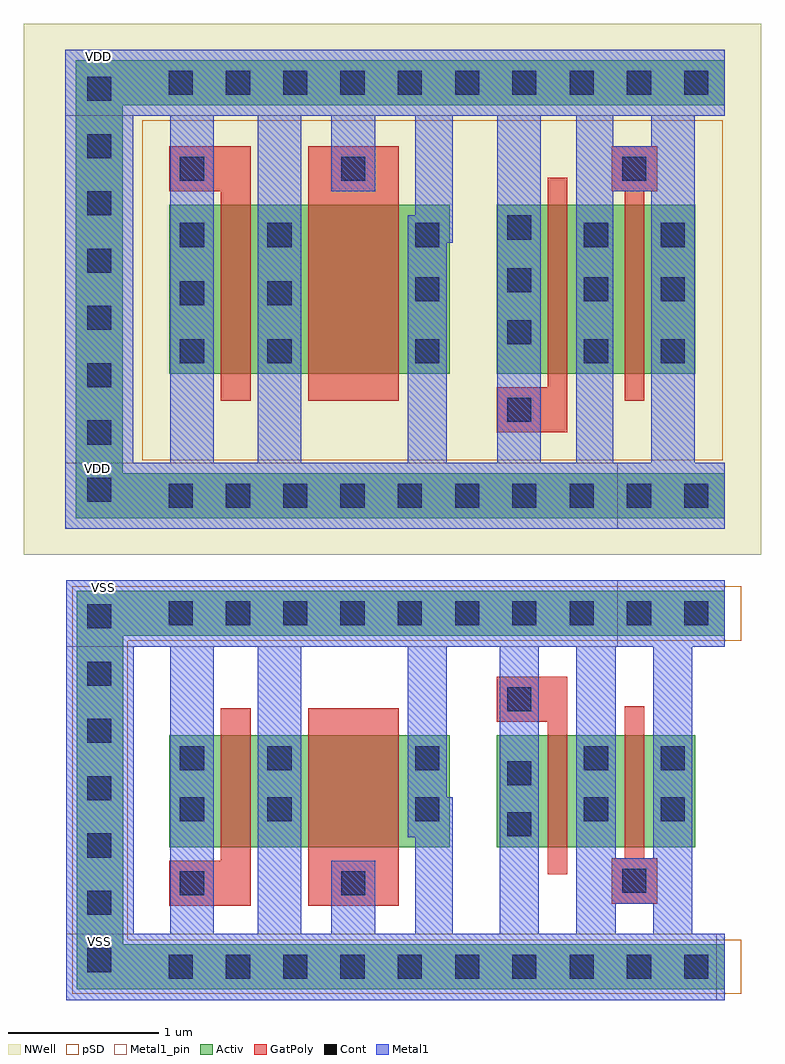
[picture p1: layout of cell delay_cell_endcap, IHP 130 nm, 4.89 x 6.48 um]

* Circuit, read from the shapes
.subckt delay_cell_endcap VDD VSS
XM1 VSS VSS VSS VSS sg13_lv_nmos w=0.74u l=0.2u
XM2 VSS VSS VSS VSS sg13_lv_nmos w=0.74u l=0.6u
XM3 VSS VSS VSS VSS sg13_lv_nmos w=0.74u l=0.13u m=2
XM4 VDD VDD VDD VDD sg13_lv_pmos w=1.12u l=0.2u
XM5 VDD VDD VDD VDD sg13_lv_pmos w=1.12u l=0.6u
XM6 VDD VDD VDD VDD sg13_lv_pmos w=1.12u l=0.13u m=2
.ends

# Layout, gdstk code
import gdstk
lib = gdstk.Library(unit=1e-6, precision=1e-09)
def R(c, l, rs):  # rectangles x0, y0, x1, y1
    for r in rs: c.add(gdstk.rectangle(r[:2], r[2:], *l))
def A(c, l, x, y, w, h, nx, ny, dx, dy):  # array of equal rectangles
    R(c, l, [(x+i*dx, y+j*dy, x+i*dx+w, y+j*dy+h) for i in range(nx) for j in range(ny)])
def P(c, l, *ps):  # polygons
    for p in ps: c.add(gdstk.Polygon(p, *l))
Activ = (1, 0)
GatPoly = (5, 0)
Cont = (6, 0)
Metal1 = (8, 0)
Metal1_pin = (8, 2)
pSD = (14, 0)
NWell = (31, 0)

delay_cell_endcap = lib.new_cell('delay_cell_endcap')
R(delay_cell_endcap, Activ, [(0.615,0.795,2.475,1.535), (2.785,0.795,4.105,1.535), (0.615,3.935,2.475,5.055), (2.785,3.935,4.105,5.055)])
P(delay_cell_endcap, Activ, [(-0.005,2.975),(-0.005,6.015),(4.3,6.015),(4.3,5.715),(0.305,5.715),(0.305,3.275),(4.3,3.275),(4.3,2.975)],
  [(0,-0.15),(0,2.495),(4.3,2.495),(4.3,2.195),(0.31,2.195),(0.31,0.15),(4.3,0.15),(4.3,-0.15)])
R(delay_cell_endcap, GatPoly, [(1.535,0.405,2.135,1.715), (1.535,3.755,2.135,5.445)])
P(delay_cell_endcap, GatPoly, [(3.55,0.42),(3.55,0.72),(3.635,0.72),(3.635,1.73),(3.765,1.73),(3.765,0.72),(3.85,0.72),(3.85,0.42)],
  [(3.125,0.615),(3.125,1.625),(2.785,1.625),(2.785,1.925),(3.255,1.925),(3.255,0.615)],
  [(3.635,3.755),(3.635,5.145),(3.55,5.145),(3.55,5.445),(3.85,5.445),(3.85,5.145),(3.765,5.145),(3.765,3.755)],
  [(2.785,3.545),(2.785,3.845),(3.125,3.845),(3.125,5.235),(3.255,5.235),(3.255,3.545)],
  [(0.955,3.755),(0.955,5.145),(0.615,5.145),(0.615,5.445),(1.155,5.445),(1.155,3.755)],
  [(0.615,0.405),(0.615,0.705),(0.955,0.705),(0.955,1.715),(1.155,1.715),(1.155,0.405)])
A(delay_cell_endcap, Cont, 0.61, -0.08, 0.16, 0.16, 10, 2, 0.38, 2.345)
A(delay_cell_endcap, Cont, 0.07, -0.035, 0.16, 0.16, 1, 7, 0, 0.38)
A(delay_cell_endcap, Cont, 0.61, 3.045, 0.16, 0.16, 10, 2, 0.38, 2.74)
A(delay_cell_endcap, Cont, 0.07, 3.085, 0.16, 0.16, 1, 8, 0, 0.38)
A(delay_cell_endcap, Cont, 0.685, 4.005, 0.16, 0.16, 1, 3, 0, 0.385)
A(delay_cell_endcap, Cont, 1.265, 4.005, 0.16, 0.16, 1, 3, 0, 0.385)
R(delay_cell_endcap, Cont, [(0.685,0.475,0.845,0.635), (1.755,0.475,1.915,0.635), (3.62,0.49,3.78,0.65), (2.855,0.865,3.015,1.025), (0.685,0.965,0.845,1.125), (1.265,0.965,1.425,1.125), (2.245,0.965,2.405,1.125), (3.365,0.965,3.525,1.125), (3.875,0.965,4.035,1.125), (2.855,1.205,3.015,1.365), (0.685,1.305,0.845,1.465), (1.265,1.305,1.425,1.465), (2.245,1.305,2.405,1.465), (3.365,1.305,3.525,1.465), (3.875,1.305,4.035,1.465), (2.855,1.695,3.015,1.855), (2.855,3.615,3.015,3.775), (2.245,4.005,2.405,4.165), (3.365,4.005,3.525,4.165), (3.875,4.005,4.035,4.165), (2.855,4.13,3.015,4.29), (2.245,4.415,2.405,4.575), (3.365,4.415,3.525,4.575), (3.875,4.415,4.035,4.575), (2.855,4.475,3.015,4.635), (2.245,4.775,2.405,4.935), (3.365,4.775,3.525,4.935), (3.875,4.775,4.035,4.935), (2.855,4.825,3.015,4.985), (0.685,5.215,0.845,5.375), (1.755,5.215,1.915,5.375), (3.62,5.215,3.78,5.375)])
R(delay_cell_endcap, Metal1, [(0.62,0.22,0.91,2.125), (1.2,0.22,1.49,2.125), (1.69,0.22,1.98,0.705), (2.805,0.22,3.065,2.125), (0.62,3.345,0.91,5.645), (1.2,3.345,1.49,5.645), (2.79,3.345,3.08,5.645), (1.69,5.145,1.98,5.645)])
P(delay_cell_endcap, Metal1, [(-0.075,2.905),(-0.075,6.085),(4.3,6.085),(4.3,5.645),(0.375,5.645),(0.375,3.345),(4.3,3.345),(4.3,2.905)],
  [(2.195,3.345),(2.195,4.985),(2.245,4.985),(2.245,5.645),(2.495,5.645),(2.495,4.805),(2.455,4.805),(2.455,3.345)],
  [(3.315,3.345),(3.315,5.645),(3.56,5.645),(3.56,5.445),(3.81,5.445),(3.81,5.645),(4.1,5.645),(4.1,3.345),(3.81,3.345),(3.81,5.145),(3.56,5.145),(3.56,3.345)],
  [(3.315,0.22),(3.315,2.125),(3.575,2.125),(3.575,0.72),(3.825,0.72),(3.825,2.125),(4.085,2.125),(4.085,0.22),(3.825,0.22),(3.825,0.42),(3.575,0.42),(3.575,0.22)],
  [(2.245,0.22),(2.245,0.86),(2.195,0.86),(2.195,2.125),(2.455,2.125),(2.455,1.125),(2.495,1.125),(2.495,0.22)],
  [(-0.07,-0.22),(-0.07,2.565),(4.3,2.565),(4.3,2.125),(0.38,2.125),(0.38,0.22),(4.3,0.22),(4.3,-0.22)])
R(delay_cell_endcap, Metal1_pin, [(-0.07,-0.22,4.245,0.22), (-0.07,2.125,3.59,2.565), (-0.075,2.905,3.59,3.345), (-0.075,5.645,4.3,6.085)])
R(delay_cell_endcap, pSD, [(0.435,3.36,4.285,5.615)])
P(delay_cell_endcap, pSD, [(-0.03,-0.18),(-0.03,2.525),(4.41,2.525),(4.41,2.165),(0.34,2.165),(0.34,0.18),(4.41,0.18),(4.41,-0.18)])
R(delay_cell_endcap, NWell, [(-0.35,2.735,4.54,6.255)])
delay_cell_endcap.add(gdstk.Label('VSS', (0.15,0.17), layer=8, texttype=25))
delay_cell_endcap.add(gdstk.Label('VDD', (0.14,3.305), layer=8, texttype=25))
delay_cell_endcap.add(gdstk.Label('VSS', (0.175,2.515), layer=8, texttype=25))
delay_cell_endcap.add(gdstk.Label('VDD', (0.145,6.04), layer=8, texttype=25))

lib.write_gds('delay_cell_endcap.gds')
